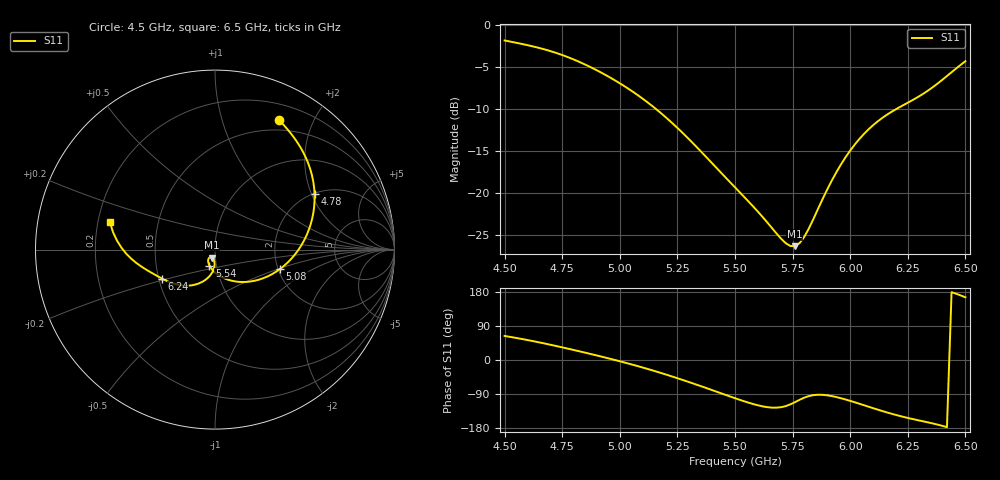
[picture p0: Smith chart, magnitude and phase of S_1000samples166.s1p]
! TOUCHSTONE file generated by CST MICROWAVE STUDIO
! Date and time: Thu Oct 27 05:38:45 2022
! Project name: L.cst
! Parameters = {Di=1.27; Epsilon_r=1.56; InnerDiameter=1.27; Length=2; Lf=10; Lg=60; OuterConductorThickness=0.2921; OuterDiameter=3.6; Wf=3; Wp=41.2; de=1.5; df=6.8; g=0.8; gx=1.26206; gy=2.02606; h=2.34; hf=1.524; px=11.3951; py=8.65386; w=9.7; wx=10.133; wy=6.6278}
! Header version: 2018
! Port assignment regex: !\s*Touchstone port\s*([0-9]+)\s*=\s*(CST MWS port|CST DS port)\s*([0-9]+|Zmin|Zmax)\s*\(\"(.*)\"\)(\s*mode\s*([0-9]+))?.*
! Touchstone port assignment:
! Touchstone port 1 = CST MWS port 1 ("")
# GHz S DB R 50
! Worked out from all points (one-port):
!   101 points, 4.5 GHz to 6.5 GHz, reference 50 ohm
!   lowest |S11| = -26.4 dB at 5.76 GHz (marker M1), VSWR 1.10, Z = 48.1 - j4.32 ohm
!   |S11| at or under -10 dB: 5.155 GHz to 6.203 GHz (1.049 GHz wide, 18.5 % of centre)
!   S11 on the Smith chart (normalised r, x): 4.5 GHz: 0.38, +1.55; 4.78 GHz: 2.02, +2.11; 5.08 GHz: 2.05, -0.52; 5.54 GHz: 0.93, -0.17; 6.24 GHz: 0.52, -0.19; 6.5 GHz: 0.25, +0.12
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4.5  -1.89 63.5
4.64  -2.72 47.7
4.7  -3.17 40.1
4.76  -3.73 32.0
4.78  -3.94 29.2
4.88  -5.16 14.9
5  -6.99 -3.3
5.08  -8.44 -16.5
5.16  -10.11 -30.8
5.26  -12.56 -50.1
5.38  -15.90 -75.0
5.5  -19.36 -100.8
5.54  -20.51 -109.0
5.7  -25.47 -124.6
5.74  -26.33 -117.2
5.76  -26.36 -111.4
5.78  -26.00 -105.1
5.8  -25.28 -99.5
5.92  -18.56 -95.2
6  -14.99 -107.8
6.1  -11.96 -127.2
6.16  -10.72 -138.4
6.24  -9.45 -151.4
6.26  -9.15 -154.3
6.34  -7.81 -164.9
6.4  -6.57 -173.8
6.46  -5.22 174.8
6.5  -4.37 165.4
